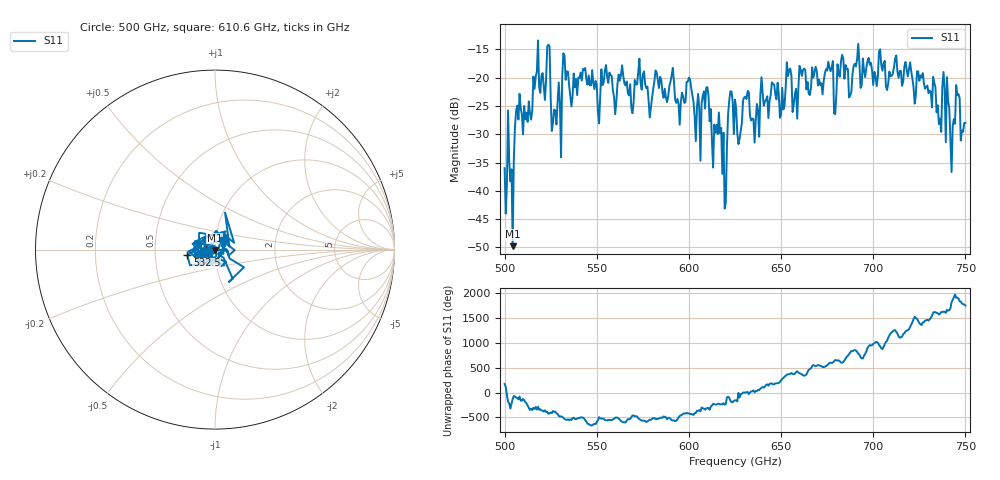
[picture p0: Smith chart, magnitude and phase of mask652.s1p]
!Created with skrf (http://scikit-rf.org).
# GHz S MA R 50.0
!freq magS11 angS11
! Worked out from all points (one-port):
!   401 points, 500 GHz to 750 GHz, reference 50 ohm
!   lowest |S11| = -49.8 dB at 504.4 GHz (marker M1), VSWR 1.01, Z = 49.8 - j0.252 ohm
!   |S11| at or under -10 dB: start of sweep to end of sweep
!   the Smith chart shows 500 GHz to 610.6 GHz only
!   S11 on the Smith chart (normalised r, x): 500 GHz: 0.97, +0.00; 532.5 GHz: 0.73, -0.05; 610.6 GHz: 1.09, +0.11
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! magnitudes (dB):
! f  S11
! 500 GHz  -36.0
! 504.4 GHz  -49.8
! 506.9 GHz  -24.9
! 513.8 GHz  -26.3
! 516.9 GHz  -19.8
! 523.8 GHz  -14.2
! 526.9 GHz  -25.6
! 531.2 GHz  -19.9
! 532.5 GHz  -16.1
! 550.6 GHz  -26.0
! 562.5 GHz  -20.5
! 579.4 GHz  -25.2
! 590.6 GHz  -19.6
! 593.8 GHz  -23.7
! 610.6 GHz  -23.2
! 619.4 GHz  -43.1
! 622.5 GHz  -22.4
! 625 GHz  -23.9
! 656.2 GHz  -26.1
! 683.8 GHz  -16.6
! 687.5 GHz  -23.2
! 691.2 GHz  -16.7
! 718.8 GHz  -19.8
! 735.6 GHz  -28.2
! 738.8 GHz  -22.0
! 743.1 GHz  -28.5
! 745.6 GHz  -23.1
! 750 GHz  -28.0
